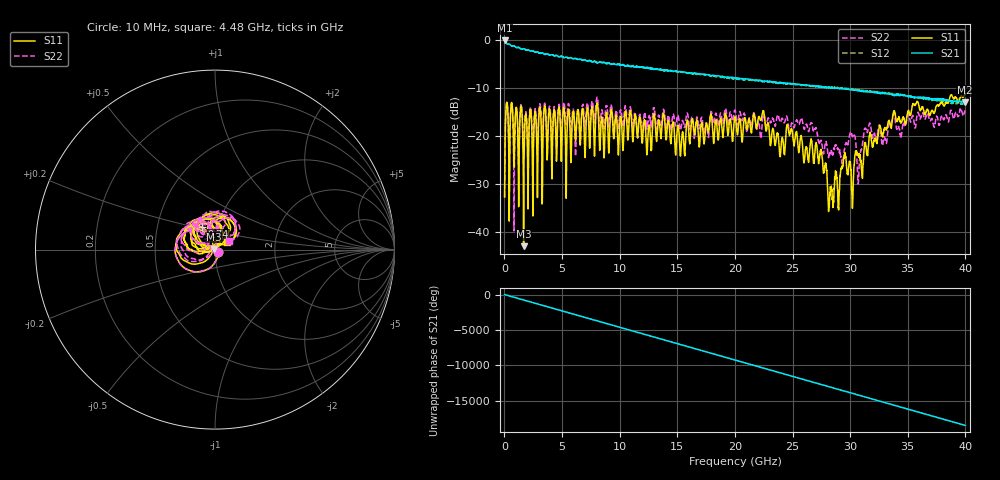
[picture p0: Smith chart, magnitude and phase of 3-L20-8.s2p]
! 2/21/2025 7:25:46 AM
! Z:\OQC\AD5\613\LOT-141-0825\SINGLE\3-L20-8.S2P
! CHANNEL.1
! TR.MEASUREMENT
! CORRECTED.DATA
! RF.CORRECTION: FULL.FOUR.PORT.CAL.PORT.1.2.3.4
! AVERAGING.OFF
! IF.BANDWIDTH: 1KHZ
! SWEEPTYPE:  FREQ.SWEEP(Linear)
! Reference Plane Port Info
! PORT:  PORT1  PORT2
! DISTANCE:  0  m  0  m
! TIME:  0  s  0  s
! PHASE.OFFSET:  0 °  0 °
! LOSS:  0  dB  0  dB
! REF.LOSS:  0  dB  0  dB
! REF.FREQ:  0  Hz  0  Hz
! Power Info
! POWER:  -10  dBm  -10  dBm
! EFF.POWER:  -10  dBm  -10  dBm
! SOURCE.ATTEN:  0  dB  0  dB
! TEST.ATTEN:  0  dB  0  dB
# GHZ S RI R 50.0
! FREQ.GHZ  S11RE  S11IM  S21RE  S21IM  S12RE  S12IM  S22RE  S22IM
!; PortSelection: Port_12
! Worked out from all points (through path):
!   4000 points, 10 MHz to 40 GHz, reference 50 ohm
!   highest |S21| = -0.17 dB at 10 MHz (marker M1); lowest = -13.0 dB at 39.93 GHz (marker M2)
!   group delay of S21, straight-line fit = 1.28 ns
!   lowest |S11| = -43.0 dB at 1.66 GHz (marker M3), VSWR 1.01, Z = 49.4 + j0.362 ohm
!   |S11| at or under -10 dB: start of sweep to end of sweep
!   |S22| runs from -39.8 to -12.0 dB; largest |S21 - S12| = 0.018
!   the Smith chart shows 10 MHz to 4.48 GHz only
!   S11 on the Smith chart (normalised r, x): 10 MHz: 1.04, -0.03; 740 MHz: 0.84, +0.22; 4.48 GHz: 1.13, +0.10
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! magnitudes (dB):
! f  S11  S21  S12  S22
! 10 MHz  -32.8  -0.2  -0.2  -32.7
! 190 MHz  -13.1  -0.8  -0.8  -13.1
! 740 MHz  -16.8  -1.3  -1.3  -17.5
! 1.66 GHz  -43.0  -1.9  -1.9  -23.8
! 4.48 GHz  -22.2  -3.3  -3.3  -20.7
! 6.68 GHz  -16.2  -4.2  -4.1  -15.8
! 13.34 GHz  -17.1  -6.2  -6.2  -16.1
! 15.46 GHz  -19.2  -6.7  -6.8  -16.9
! 20.01 GHz  -16.2  -8.0  -8.3  -14.8
! 22.4 GHz  -15.1  -8.6  -8.8  -16.4
! 24.06 GHz  -20.9  -9.0  -9.0  -16.6
! 24.66 GHz  -19.1  -9.1  -9.2  -18.4
! 26.67 GHz  -21.1  -9.6  -9.7  -17.4
! 27.53 GHz  -23.5  -9.8  -9.8  -21.7
! 28.31 GHz  -31.3  -10.0  -9.9  -23.5
! 29.48 GHz  -24.2  -10.3  -10.2  -23.0
! 30.18 GHz  -34.6  -10.5  -10.3  -20.1
! 30.75 GHz  -24.5  -10.6  -10.4  -28.3
! 31.41 GHz  -23.1  -10.8  -10.6  -19.0
! 33.34 GHz  -16.9  -11.3  -11.2  -17.8
! 39.93 GHz  -11.5  -13.0  -13.4  -15.0
! 40 GHz  -11.3  -13.0  -13.4  -14.9
